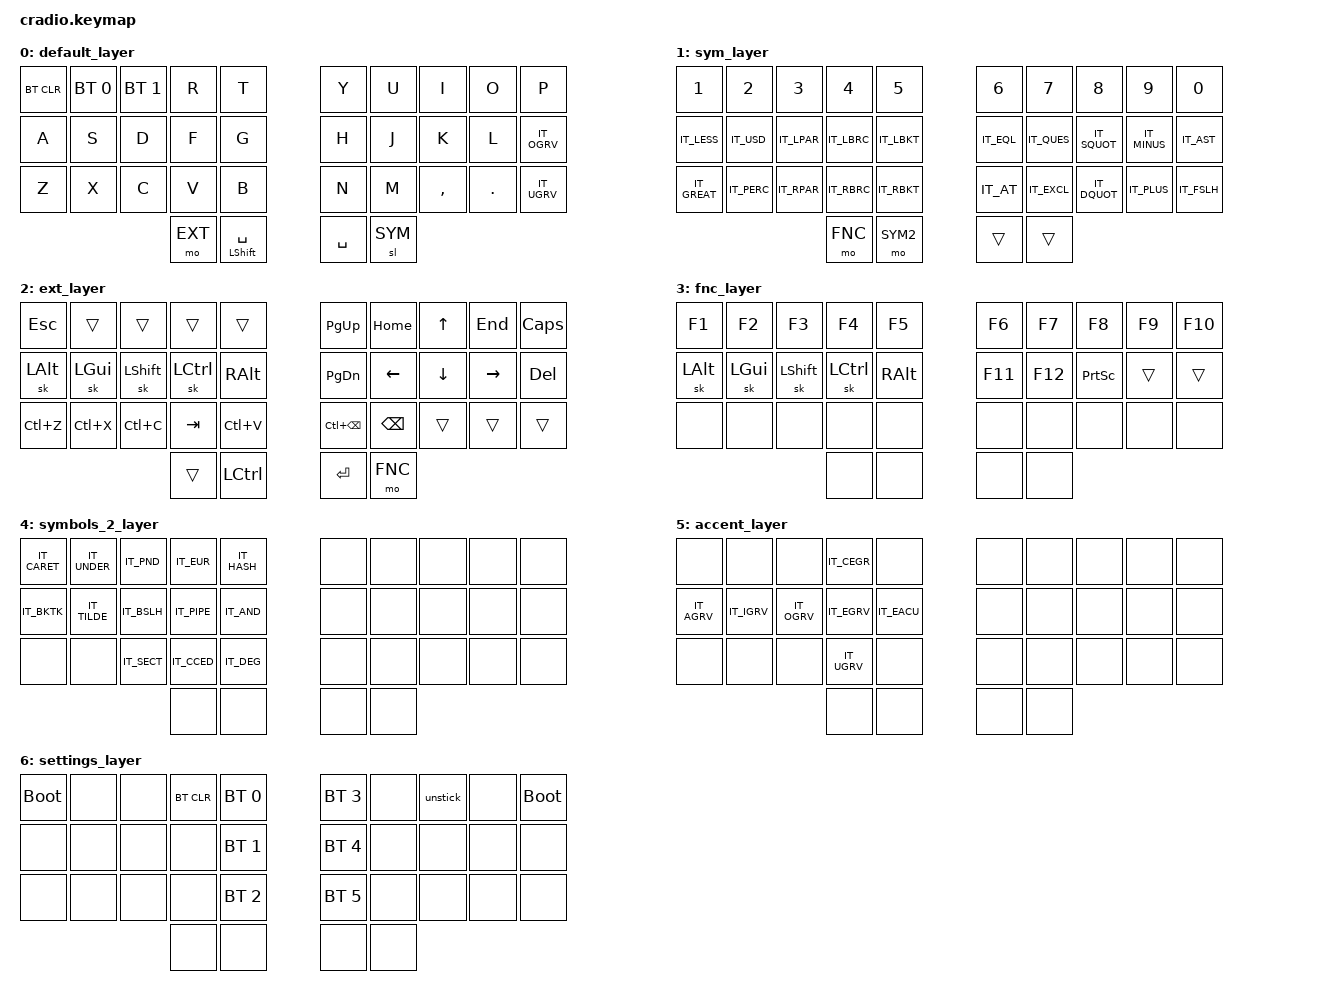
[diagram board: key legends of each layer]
/*
 * Copyright (c) 2020 The ZMK Contributors
 *
 * SPDX-License-Identifier: MIT
 */

#include <behaviors.dtsi>
#include <dt-bindings/zmk/keys.h>
#include <dt-bindings/zmk/bt.h>
#include "keymap_italian.h"

// Layer definitions
    #define BASE 0
    #define SYM 1
    #define EXT 2
    #define FNC 3
    #define SYM2 4
    #define ACCENT 5
    #define SETTINGS 6

/ {
    macros {
        unstick: unstick {
            label = "ZM_unstick";
            compatible = "zmk,behavior-macro";
            #binding-cells = <0>;
            bindings = <&kp LSHIFT &kp RSHIFT &kp LCTRL &kp RCTRL &kp LALT &kp RALT &kp LGUI &kp RGUI>;
        };
    };

    combos {
        compatible = "zmk,combos";
        combo_accent {
            timeout-ms = <300>;
            key-positions = <32 33>;
            bindings = <&mo ACCENT>;
        };
        combo_sym2 {
            timeout-ms = <200>;
            key-positions = <31 33>;
            bindings = <&mo SYM2>;
        };
        combo_settings {
            timeout-ms = <300>;
            key-positions = <30 31>;
            bindings = <&mo SETTINGS>;
        };
    };

    keymap {
        compatible = "zmk,keymap";

        default_layer {
            bindings = <
            &bt BT_CLR   &bt BT_SEL 0  &bt BT_SEL 1  &kp R  &kp T            &kp Y  &kp U  &kp I      &kp O    &kp P 
            &kp A        &kp S         &kp D         &kp F  &kp G            &kp H  &kp J  &kp K      &kp L    &kp IT_OGRV
            &kp Z        &kp X         &kp C         &kp V  &kp B            &kp N  &kp M  &kp COMMA  &kp DOT  &kp IT_UGRV
                                       &mo EXT       &mt LSHIFT SPACE        &kp SPACE  &sl SYM
            >;
        };

        sym_layer {
            bindings = <
            &kp N1       &kp N2        &kp N3        &kp N4        &kp N5          &kp N6       &kp N7       &kp N8        &kp N9        &kp N0
            &kp IT_LESS  &kp IT_USD    &kp IT_LPAR   &kp IT_LBRC   &kp IT_LBKT     &kp IT_EQL   &kp IT_QUES  &kp IT_SQUOT  &kp IT_MINUS  &kp IT_AST
            &kp IT_GREAT &kp IT_PERC   &kp IT_RPAR   &kp IT_RBRC   &kp IT_RBKT     &kp IT_AT    &kp IT_EXCL  &kp IT_DQUOT  &kp IT_PLUS   &kp IT_FSLH
                                                     &mo FNC       &mo SYM2        &trans       &trans
            >;
        };

        ext_layer {
            bindings = <
            &kp ESC      &trans        &trans        &trans        &trans          &kp PG_UP    &kp HOME     &kp UP        &kp END       &kp CAPS
            &sk LALT     &sk LGUI      &sk LSHIFT    &sk LCTRL     &kp RALT        &kp PG_DN    &kp LEFT     &kp DOWN      &kp RIGHT     &kp DEL
            &kp LC(Z)    &kp LC(X)     &kp LC(C)     &kp TAB       &kp LC(V)       &kp LC(BSPC) &kp BSPC     &trans        &trans        &trans
                                                     &trans        &kp LCTRL       &kp ENTER    &mo FNC 
            >;
        };

        fnc_layer {
            bindings = <
            &kp F1       &kp F2        &kp F3        &kp F4        &kp F5          &kp F6       &kp F7       &kp F8        &kp F9        &kp F10 
            &sk LALT     &sk LGUI      &sk LSHIFT    &sk LCTRL     &kp RALT        &kp F11      &kp F12      &kp PRINTSCREEN &trans      &trans
            &none        &none         &none         &none         &none           &none        &none        &none         &none         &none 
                                                     &none         &none           &none        &none  
            >;
        };

        symbols_2_layer {
            bindings = <
            &kp IT_CARET &kp IT_UNDER  &kp IT_PND    &kp IT_EUR    &kp IT_HASH     &none        &none        &none         &none         &none 
            &kp IT_BKTK  &kp IT_TILDE  &kp IT_BSLH   &kp IT_PIPE   &kp IT_AND      &none        &none        &none         &none         &none
            &none        &none         &kp IT_SECT   &kp IT_CCED   &kp IT_DEG      &none        &none        &none         &none         &none
                                                     &none         &none           &none        &none 
            >;
        };

        accent_layer {
            bindings = <
            &none        &none         &none         &kp IT_CEGR   &none           &none        &none        &none         &none         &none 
            &kp IT_AGRV  &kp IT_IGRV   &kp IT_OGRV   &kp IT_EGRV   &kp IT_EACU     &none        &none        &none         &none         &none
            &none        &none         &none         &kp IT_UGRV   &none           &none        &none        &none         &none         &none
                                                     &none         &none           &none        &none 
            >;
        };

        settings_layer {
            bindings = <
            &bootloader  &none         &none         &bt BT_CLR    &bt BT_SEL 0    &bt BT_SEL 3 &none        &unstick      &none         &bootloader 
            &none        &none         &none         &none         &bt BT_SEL 1    &bt BT_SEL 4 &none        &none         &none         &none
            &none        &none         &none         &none         &bt BT_SEL 2    &bt BT_SEL 5 &none        &none         &none         &none
                                                     &none         &none           &none        &none 
            >;
        };
    };
};
